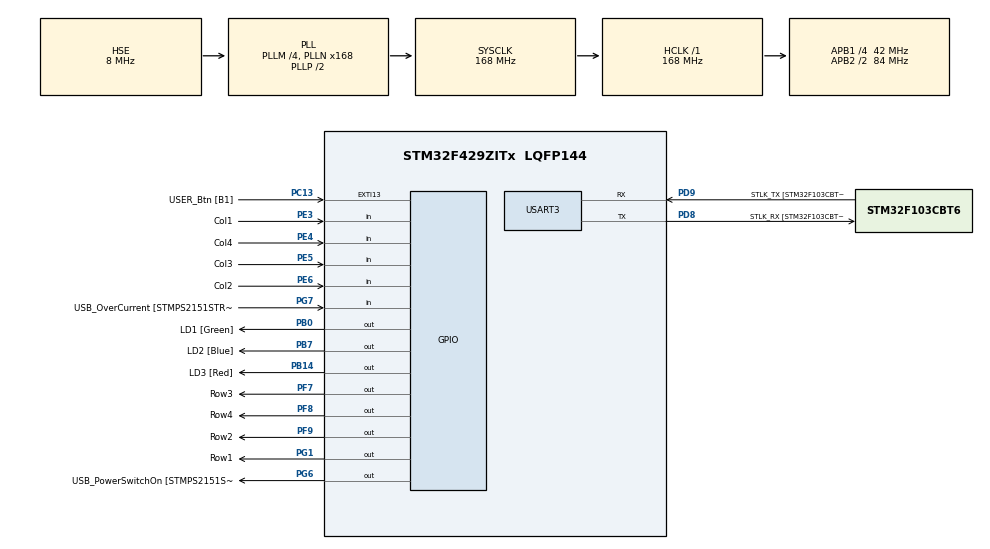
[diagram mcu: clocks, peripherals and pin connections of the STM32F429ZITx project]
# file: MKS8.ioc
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Mcu.Family=STM32F4
Mcu.Name=STM32F429ZITx
Mcu.Package=LQFP144
NVIC.PriorityGroup=NVIC_PRIORITYGROUP_4
NVIC.TIM3_IRQn=true\:0\:0\:false\:false\:true\:true\:true\:true
PA1.GPIO_Label=RMII_REF_CLK [LAN8742A-CZ-TR_REFCLK0]
PA1.Signal=ETH_REF_CLK
PA10.GPIO_Label=USB_ID
PA10.Signal=USB_OTG_FS_ID
PA11.GPIO_Label=USB_DM
PA11.Signal=USB_OTG_FS_DM
PA12.GPIO_Label=USB_DP
PA12.Signal=USB_OTG_FS_DP
PA13.GPIO_Label=TMS
PA13.Mode=Serial_Wire
PA13.Signal=SYS_JTMS-SWDIO
PA14.GPIO_Label=TCK
PA14.Mode=Serial_Wire
PA14.Signal=SYS_JTCK-SWCLK
PA2.GPIO_Label=RMII_MDIO [LAN8742A-CZ-TR_MDIO]
PA2.Signal=ETH_MDIO
PA7.GPIO_Label=RMII_CRS_DV [LAN8742A-CZ-TR_CRS_DV]
PA7.Signal=ETH_CRS_DV
PA8.GPIO_Label=USB_SOF [TP1]
PA8.Signal=USB_OTG_FS_SOF
PA9.GPIO_Label=USB_VBUS
PA9.Signal=USB_OTG_FS_VBUS
PB0.GPIO_Label=LD1 [Green]
PB0.Signal=GPIO_Output
PB13.GPIO_Label=RMII_TXD1 [LAN8742A-CZ-TR_TXD1]
PB13.Signal=ETH_TXD1
PB14.GPIO_Label=LD3 [Red]
PB14.Signal=GPIO_Output
PB7.GPIO_Label=LD2 [Blue]
PB7.Signal=GPIO_Output
PC1.GPIO_Label=RMII_MDC [LAN8742A-CZ-TR_MDC]
PC1.Signal=ETH_MDC
PC13.GPIO_Label=USER_Btn [B1]
PC13.Signal=GPXTI13
PC14/OSC32_IN.Mode=LSE-External-Oscillator
PC14/OSC32_IN.Signal=RCC_OSC32_IN
PC15/OSC32_OUT.Mode=LSE-External-Oscillator
PC15/OSC32_OUT.Signal=RCC_OSC32_OUT
PC4.GPIO_Label=RMII_RXD0 [LAN8742A-CZ-TR_RXD0]
PC4.Signal=ETH_RXD0
PC5.GPIO_Label=RMII_RXD1 [LAN8742A-CZ-TR_RXD1]
PC5.Signal=ETH_RXD1
PD8.GPIO_Label=STLK_RX [STM32F103CBT6_PA3]
PD8.Mode=Asynchronous
PD8.Signal=USART3_TX
PD9.GPIO_Label=STLK_TX [STM32F103CBT6_PA2]
PD9.Mode=Asynchronous
PD9.Signal=USART3_RX
PE3.GPIO_Label=Col1
PE3.GPIO_PuPd=GPIO_PULLUP
PE3.Signal=GPIO_Input
PE4.GPIO_Label=Col4
PE4.GPIO_PuPd=GPIO_PULLUP
PE4.Signal=GPIO_Input
PE5.GPIO_Label=Col3
PE5.GPIO_PuPd=GPIO_PULLUP
PE5.Signal=GPIO_Input
PE6.GPIO_Label=Col2
PE6.GPIO_PuPd=GPIO_PULLUP
PE6.Signal=GPIO_Input
PF7.GPIO_Label=Row3
PF7.GPIO_ModeDefaultOutputPP=GPIO_MODE_OUTPUT_OD
PF7.GPIO_PuPd=GPIO_NOPULL
PF7.Signal=GPIO_Output
PF8.GPIO_Label=Row4
PF8.GPIO_ModeDefaultOutputPP=GPIO_MODE_OUTPUT_OD
PF8.GPIO_PuPd=GPIO_NOPULL
PF8.Signal=GPIO_Output
PF9.GPIO_Label=Row2
PF9.GPIO_ModeDefaultOutputPP=GPIO_MODE_OUTPUT_OD
PF9.GPIO_PuPd=GPIO_NOPULL
PF9.Signal=GPIO_Output
PG1.GPIO_Label=Row1
PG1.GPIO_ModeDefaultOutputPP=GPIO_MODE_OUTPUT_OD
PG1.GPIO_PuPd=GPIO_NOPULL
PG1.Signal=GPIO_Output
PG11.GPIO_Label=RMII_TX_EN [LAN8742A-CZ-TR_TXEN]
PG11.Signal=ETH_TX_EN
PG13.GPIO_Label=RMII_TXD0 [LAN8742A-CZ-TR_TXD0]
PG13.Signal=ETH_TXD0
PG6.GPIO_Label=USB_PowerSwitchOn [STMPS2151STR_EN]
PG6.Signal=GPIO_Output
PG7.GPIO_Label=USB_OverCurrent [STMPS2151STR_FAULT]
PG7.Signal=GPIO_Input
PH0/OSC_IN.GPIO_Label=MCO [STM32F103CBT6_PA8]
PH0/OSC_IN.Mode=HSE-External-Clock-Source
PH0/OSC_IN.Signal=RCC_OSC_IN
PH1/OSC_OUT.Mode=HSE-External-Clock-Source
PH1/OSC_OUT.Signal=RCC_OSC_OUT
ProjectManager.HeapSize=0x200
ProjectManager.StackSize=0x400
ProjectManager.TargetToolchain=STM32CubeIDE
RCC.48MHZClocksFreq_Value=48000000
RCC.AHBFreq_Value=168000000
RCC.APB1CLKDivider=RCC_HCLK_DIV4
RCC.APB1Freq_Value=42000000
RCC.APB1TimFreq_Value=84000000
RCC.APB2CLKDivider=RCC_HCLK_DIV2
RCC.APB2Freq_Value=84000000
RCC.APB2TimCLKDivider=2
RCC.APB2TimFreq_Value=168000000
RCC.CortexFreq_Value=168000000
RCC.HCLKFreq_Value=168000000
RCC.HSE_VALUE=8000000
RCC.HSI_VALUE=16000000
RCC.PLLM=4
RCC.PLLMUL=RCC_PLL_MUL9
RCC.PLLN=168
RCC.PLLQ=7
RCC.PLLSourceVirtual=RCC_PLLSOURCE_HSE
RCC.PRESCALERUSB=RCC_USBCLKSOURCE_PLL_DIV1_5
RCC.SYSCLKFreq_VALUE=168000000
RCC.SYSCLKSource=RCC_SYSCLKSOURCE_PLLCLK
RCC.SYSCLKSourceVirtual=RCC_SYSCLKSOURCE_PLLCLK
RCC.USBFreq_Value=48000000
RCC.VCOOutputFreq_Value=336000000
TIM3.AutoReloadPreload=TIM_AUTORELOAD_PRELOAD_ENABLE
TIM3.Period=99
TIM3.Prescaler=8399
USART3.VirtualMode=VM_ASYNC
VP_TIM3_VS_ClockSourceINT.Mode=Internal
board=NUCLEO-F429ZI

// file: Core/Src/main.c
/* USER CODE BEGIN Header */
/**
  ******************************************************************************
  * @file           : main.c
  * @brief          : Main program body
  ******************************************************************************
  * @attention
  *
  * Copyright (c) 2024 STMicroelectronics.
  * All rights reserved.
  *
  * This software is licensed under terms that can be found in the LICENSE file
  * in the root directory of this software component.
  * If no LICENSE file comes with this software, it is provided AS-IS.
  *
  ******************************************************************************
  */
/* USER CODE END Header */
#include "main.h"

/* USER CODE BEGIN Includes */
#include <stdio.h>

/* USER CODE END Includes */

TIM_HandleTypeDef htim3;

UART_HandleTypeDef huart3;

/* USER CODE BEGIN PV */

static volatile char key;
static const char pass[] = {'7', '9', '3', '2', '#'};
static uint8_t current_pass = 0;
static uint32_t rest = 0;
static uint8_t timeout = 0;
static const uint32_t pass_dlay_time = 3000;

/* USER CODE END PV */

void SystemClock_Config(void);
static void MX_GPIO_Init(void);
static void MX_USART3_UART_Init(void);
static void MX_TIM3_Init(void);
/* USER CODE BEGIN PFP */
int __io_putchar(int ch)
{
ITM_SendChar(ch);
return 0;
}

void HAL_TIM_PeriodElapsedCallback(TIM_HandleTypeDef *htim)
{
	static uint8_t row = 0;
	static const char keyboard[4][4] = {
			{ '1', '2', '3', 'A' },
			{ '4', '5', '6', 'B' },
			{ '7', '8', '9', 'C' },
			{ '*', '0', '#', 'D' },
	};
	if (key == 0)
	{
		if (HAL_GPIO_ReadPin(Col1_GPIO_Port, Col1_Pin) == GPIO_PIN_RESET)
		{
			key = keyboard[row][0];
		}
		if (HAL_GPIO_ReadPin(Col2_GPIO_Port, Col2_Pin) == GPIO_PIN_RESET)
		{
			key = keyboard[row][1];
		}
		if (HAL_GPIO_ReadPin(Col3_GPIO_Port, Col3_Pin) == GPIO_PIN_RESET)
		{
			key = keyboard[row][2];
		}
		if (HAL_GPIO_ReadPin(Col4_GPIO_Port, Col4_Pin) == GPIO_PIN_RESET)
		{
			key = keyboard[row][3];
		}
	}
	HAL_GPIO_WritePin(Row1_GPIO_Port, Row1_Pin, GPIO_PIN_SET);
	HAL_GPIO_WritePin(Row2_GPIO_Port, Row2_Pin, GPIO_PIN_SET);
	HAL_GPIO_WritePin(Row3_GPIO_Port, Row3_Pin, GPIO_PIN_SET);
	HAL_GPIO_WritePin(Row4_GPIO_Port, Row4_Pin, GPIO_PIN_SET);
	switch (row)
	{
	case 0:
		row = 1;
		HAL_GPIO_WritePin(Row2_GPIO_Port, Row2_Pin, GPIO_PIN_RESET);
		break;
	case 1:
		row = 2;
		HAL_GPIO_WritePin(Row3_GPIO_Port, Row3_Pin, GPIO_PIN_RESET);
		break;
	case 2:
		row = 3;
		HAL_GPIO_WritePin(Row4_GPIO_Port, Row4_Pin, GPIO_PIN_RESET);
		break;
	case 3:
		row = 0;
		HAL_GPIO_WritePin(Row1_GPIO_Port, Row1_Pin, GPIO_PIN_RESET);
		break;
	}
}
/* USER CODE END PFP */

int main(void)
{

  /* MCU Configuration--------------------------------------------------------*/

  /* Reset of all peripherals, Initializes the Flash interface and the Systick. */
  HAL_Init();

  /* Configure the system clock */
  SystemClock_Config();

  /* Initialize all configured peripherals */
  MX_GPIO_Init();
  MX_USART3_UART_Init();
  MX_TIM3_Init();
  /* USER CODE BEGIN 2 */
  HAL_TIM_Base_Start_IT(&htim3);
  /* USER CODE END 2 */

  /* Infinite loop */
  /* USER CODE BEGIN WHILE */
  while (1)
  {
	  if (key != 0) {

		  rest = HAL_GetTick();
		  if (key == pass[current_pass] && current_pass < sizeof(pass))
		  {
			  printf("correct '%c'\n", key);
			  current_pass++;
			  timeout = 1;
		  } else
		  {
			  printf("incorrect '%c'\n", key);
			  current_pass = 0;
			  timeout = 0;
		  }
		  if (current_pass == sizeof(pass))
		  {
			  HAL_GPIO_TogglePin(LD1_GPIO_Port, LD1_Pin);
			  current_pass = 0;
		  } else
		  {
			  HAL_GPIO_WritePin(LD1_GPIO_Port, LD1_Pin,0);
		  }
		  HAL_Delay(500);
		  key = 0;
	  }
	  if (HAL_GetTick() >= rest+pass_dlay_time && timeout == 1)
	  {
		  HAL_GPIO_WritePin(LD1_GPIO_Port, LD1_Pin,0);
		  current_pass = 0;
		  timeout = 0;
		  printf("timeout\n");
		  HAL_Delay(500);
	  }

    /* USER CODE END WHILE */

  }
}

void SystemClock_Config(void)
{
  RCC_OscInitTypeDef RCC_OscInitStruct = {0};
  RCC_ClkInitTypeDef RCC_ClkInitStruct = {0};

  /** Configure the main internal regulator output voltage
  */
  __HAL_RCC_PWR_CLK_ENABLE();
  __HAL_PWR_VOLTAGESCALING_CONFIG(PWR_REGULATOR_VOLTAGE_SCALE1);

  /** Initializes the RCC Oscillators according to the specified parameters
  * in the RCC_OscInitTypeDef structure.
  */
  RCC_OscInitStruct.OscillatorType = RCC_OSCILLATORTYPE_HSE;
  RCC_OscInitStruct.HSEState = RCC_HSE_BYPASS;
  RCC_OscInitStruct.PLL.PLLState = RCC_PLL_ON;
  RCC_OscInitStruct.PLL.PLLSource = RCC_PLLSOURCE_HSE;
  RCC_OscInitStruct.PLL.PLLM = 4;
  RCC_OscInitStruct.PLL.PLLN = 168;
  RCC_OscInitStruct.PLL.PLLP = RCC_PLLP_DIV2;
  RCC_OscInitStruct.PLL.PLLQ = 7;
  if (HAL_RCC_OscConfig(&RCC_OscInitStruct) != HAL_OK)
  {
    Error_Handler();
  }

  /** Initializes the CPU, AHB and APB buses clocks
  */
  RCC_ClkInitStruct.ClockType = RCC_CLOCKTYPE_HCLK|RCC_CLOCKTYPE_SYSCLK
                              |RCC_CLOCKTYPE_PCLK1|RCC_CLOCKTYPE_PCLK2;
  RCC_ClkInitStruct.SYSCLKSource = RCC_SYSCLKSOURCE_PLLCLK;
  RCC_ClkInitStruct.AHBCLKDivider = RCC_SYSCLK_DIV1;
  RCC_ClkInitStruct.APB1CLKDivider = RCC_HCLK_DIV4;
  RCC_ClkInitStruct.APB2CLKDivider = RCC_HCLK_DIV2;

  if (HAL_RCC_ClockConfig(&RCC_ClkInitStruct, FLASH_LATENCY_5) != HAL_OK)
  {
    Error_Handler();
  }
}

static void MX_TIM3_Init(void)
{

  TIM_ClockConfigTypeDef sClockSourceConfig = {0};
  TIM_MasterConfigTypeDef sMasterConfig = {0};

  htim3.Instance = TIM3;
  htim3.Init.Prescaler = 8399;
  htim3.Init.CounterMode = TIM_COUNTERMODE_UP;
  htim3.Init.Period = 99;
  htim3.Init.ClockDivision = TIM_CLOCKDIVISION_DIV1;
  htim3.Init.AutoReloadPreload = TIM_AUTORELOAD_PRELOAD_ENABLE;
  if (HAL_TIM_Base_Init(&htim3) != HAL_OK)
  {
    Error_Handler();
  }
  sClockSourceConfig.ClockSource = TIM_CLOCKSOURCE_INTERNAL;
  if (HAL_TIM_ConfigClockSource(&htim3, &sClockSourceConfig) != HAL_OK)
  {
    Error_Handler();
  }
  sMasterConfig.MasterOutputTrigger = TIM_TRGO_RESET;
  sMasterConfig.MasterSlaveMode = TIM_MASTERSLAVEMODE_DISABLE;
  if (HAL_TIMEx_MasterConfigSynchronization(&htim3, &sMasterConfig) != HAL_OK)
  {
    Error_Handler();
  }

}

static void MX_USART3_UART_Init(void)
{

  huart3.Instance = USART3;
  huart3.Init.BaudRate = 115200;
  huart3.Init.WordLength = UART_WORDLENGTH_8B;
  huart3.Init.StopBits = UART_STOPBITS_1;
  huart3.Init.Parity = UART_PARITY_NONE;
  huart3.Init.Mode = UART_MODE_TX_RX;
  huart3.Init.HwFlowCtl = UART_HWCONTROL_NONE;
  huart3.Init.OverSampling = UART_OVERSAMPLING_16;
  if (HAL_UART_Init(&huart3) != HAL_OK)
  {
    Error_Handler();
  }

}

static void MX_GPIO_Init(void)
{
  GPIO_InitTypeDef GPIO_InitStruct = {0};

  /* GPIO Ports Clock Enable */
  __HAL_RCC_GPIOE_CLK_ENABLE();
  __HAL_RCC_GPIOC_CLK_ENABLE();
  __HAL_RCC_GPIOF_CLK_ENABLE();
  __HAL_RCC_GPIOH_CLK_ENABLE();
  __HAL_RCC_GPIOA_CLK_ENABLE();
  __HAL_RCC_GPIOB_CLK_ENABLE();
  __HAL_RCC_GPIOG_CLK_ENABLE();
  __HAL_RCC_GPIOD_CLK_ENABLE();

  /*Configure GPIO pin Output Level */
  HAL_GPIO_WritePin(GPIOF, Row3_Pin|Row4_Pin|Row2_Pin, GPIO_PIN_RESET);

  /*Configure GPIO pin Output Level */
  HAL_GPIO_WritePin(GPIOB, LD1_Pin|LD3_Pin|LD2_Pin, GPIO_PIN_RESET);

  /*Configure GPIO pin Output Level */
  HAL_GPIO_WritePin(GPIOG, Row1_Pin|USB_PowerSwitchOn_Pin, GPIO_PIN_RESET);

  /*Configure GPIO pins : Col1_Pin Col4_Pin Col3_Pin Col2_Pin */
  GPIO_InitStruct.Pin = Col1_Pin|Col4_Pin|Col3_Pin|Col2_Pin;
  GPIO_InitStruct.Mode = GPIO_MODE_INPUT;
  GPIO_InitStruct.Pull = GPIO_PULLUP;
  HAL_GPIO_Init(GPIOE, &GPIO_InitStruct);

  /*Configure GPIO pin : USER_Btn_Pin */
  GPIO_InitStruct.Pin = USER_Btn_Pin;
  GPIO_InitStruct.Mode = GPIO_MODE_IT_RISING;
  GPIO_InitStruct.Pull = GPIO_NOPULL;
  HAL_GPIO_Init(USER_Btn_GPIO_Port, &GPIO_InitStruct);

  /*Configure GPIO pins : Row3_Pin Row4_Pin Row2_Pin */
  GPIO_InitStruct.Pin = Row3_Pin|Row4_Pin|Row2_Pin;
  GPIO_InitStruct.Mode = GPIO_MODE_OUTPUT_OD;
  GPIO_InitStruct.Pull = GPIO_NOPULL;
  GPIO_InitStruct.Speed = GPIO_SPEED_FREQ_LOW;
  HAL_GPIO_Init(GPIOF, &GPIO_InitStruct);

  /*Configure GPIO pins : RMII_MDC_Pin RMII_RXD0_Pin RMII_RXD1_Pin */
  GPIO_InitStruct.Pin = RMII_MDC_Pin|RMII_RXD0_Pin|RMII_RXD1_Pin;
  GPIO_InitStruct.Mode = GPIO_MODE_AF_PP;
  GPIO_InitStruct.Pull = GPIO_NOPULL;
  GPIO_InitStruct.Speed = GPIO_SPEED_FREQ_VERY_HIGH;
  GPIO_InitStruct.Alternate = GPIO_AF11_ETH;
  HAL_GPIO_Init(GPIOC, &GPIO_InitStruct);

  /*Configure GPIO pins : RMII_REF_CLK_Pin RMII_MDIO_Pin RMII_CRS_DV_Pin */
  GPIO_InitStruct.Pin = RMII_REF_CLK_Pin|RMII_MDIO_Pin|RMII_CRS_DV_Pin;
  GPIO_InitStruct.Mode = GPIO_MODE_AF_PP;
  GPIO_InitStruct.Pull = GPIO_NOPULL;
  GPIO_InitStruct.Speed = GPIO_SPEED_FREQ_VERY_HIGH;
  GPIO_InitStruct.Alternate = GPIO_AF11_ETH;
  HAL_GPIO_Init(GPIOA, &GPIO_InitStruct);

  /*Configure GPIO pins : LD1_Pin LD3_Pin LD2_Pin */
  GPIO_InitStruct.Pin = LD1_Pin|LD3_Pin|LD2_Pin;
  GPIO_InitStruct.Mode = GPIO_MODE_OUTPUT_PP;
  GPIO_InitStruct.Pull = GPIO_NOPULL;
  GPIO_InitStruct.Speed = GPIO_SPEED_FREQ_LOW;
  HAL_GPIO_Init(GPIOB, &GPIO_InitStruct);

  /*Configure GPIO pin : Row1_Pin */
  GPIO_InitStruct.Pin = Row1_Pin;
  GPIO_InitStruct.Mode = GPIO_MODE_OUTPUT_OD;
  GPIO_InitStruct.Pull = GPIO_NOPULL;
  GPIO_InitStruct.Speed = GPIO_SPEED_FREQ_LOW;
  HAL_GPIO_Init(Row1_GPIO_Port, &GPIO_InitStruct);

  /*Configure GPIO pin : RMII_TXD1_Pin */
  GPIO_InitStruct.Pin = RMII_TXD1_Pin;
  GPIO_InitStruct.Mode = GPIO_MODE_AF_PP;
  GPIO_InitStruct.Pull = GPIO_NOPULL;
  GPIO_InitStruct.Speed = GPIO_SPEED_FREQ_VERY_HIGH;
  GPIO_InitStruct.Alternate = GPIO_AF11_ETH;
  HAL_GPIO_Init(RMII_TXD1_GPIO_Port, &GPIO_InitStruct);

  /*Configure GPIO pin : USB_PowerSwitchOn_Pin */
  GPIO_InitStruct.Pin = USB_PowerSwitchOn_Pin;
  GPIO_InitStruct.Mode = GPIO_MODE_OUTPUT_PP;
  GPIO_InitStruct.Pull = GPIO_NOPULL;
  GPIO_InitStruct.Speed = GPIO_SPEED_FREQ_LOW;
  HAL_GPIO_Init(USB_PowerSwitchOn_GPIO_Port, &GPIO_InitStruct);

  /*Configure GPIO pin : USB_OverCurrent_Pin */
  GPIO_InitStruct.Pin = USB_OverCurrent_Pin;
  GPIO_InitStruct.Mode = GPIO_MODE_INPUT;
  GPIO_InitStruct.Pull = GPIO_NOPULL;
  HAL_GPIO_Init(USB_OverCurrent_GPIO_Port, &GPIO_InitStruct);

  /*Configure GPIO pins : USB_SOF_Pin USB_ID_Pin USB_DM_Pin USB_DP_Pin */
  GPIO_InitStruct.Pin = USB_SOF_Pin|USB_ID_Pin|USB_DM_Pin|USB_DP_Pin;
  GPIO_InitStruct.Mode = GPIO_MODE_AF_PP;
  GPIO_InitStruct.Pull = GPIO_NOPULL;
  GPIO_InitStruct.Speed = GPIO_SPEED_FREQ_VERY_HIGH;
  GPIO_InitStruct.Alternate = GPIO_AF10_OTG_FS;
  HAL_GPIO_Init(GPIOA, &GPIO_InitStruct);

  /*Configure GPIO pin : USB_VBUS_Pin */
  GPIO_InitStruct.Pin = USB_VBUS_Pin;
  GPIO_InitStruct.Mode = GPIO_MODE_INPUT;
  GPIO_InitStruct.Pull = GPIO_NOPULL;
  HAL_GPIO_Init(USB_VBUS_GPIO_Port, &GPIO_InitStruct);

  /*Configure GPIO pins : RMII_TX_EN_Pin RMII_TXD0_Pin */
  GPIO_InitStruct.Pin = RMII_TX_EN_Pin|RMII_TXD0_Pin;
  GPIO_InitStruct.Mode = GPIO_MODE_AF_PP;
  GPIO_InitStruct.Pull = GPIO_NOPULL;
  GPIO_InitStruct.Speed = GPIO_SPEED_FREQ_VERY_HIGH;
  GPIO_InitStruct.Alternate = GPIO_AF11_ETH;
  HAL_GPIO_Init(GPIOG, &GPIO_InitStruct);

}

void Error_Handler(void)
{
  __disable_irq();
  while (1)
  {
  }
}
